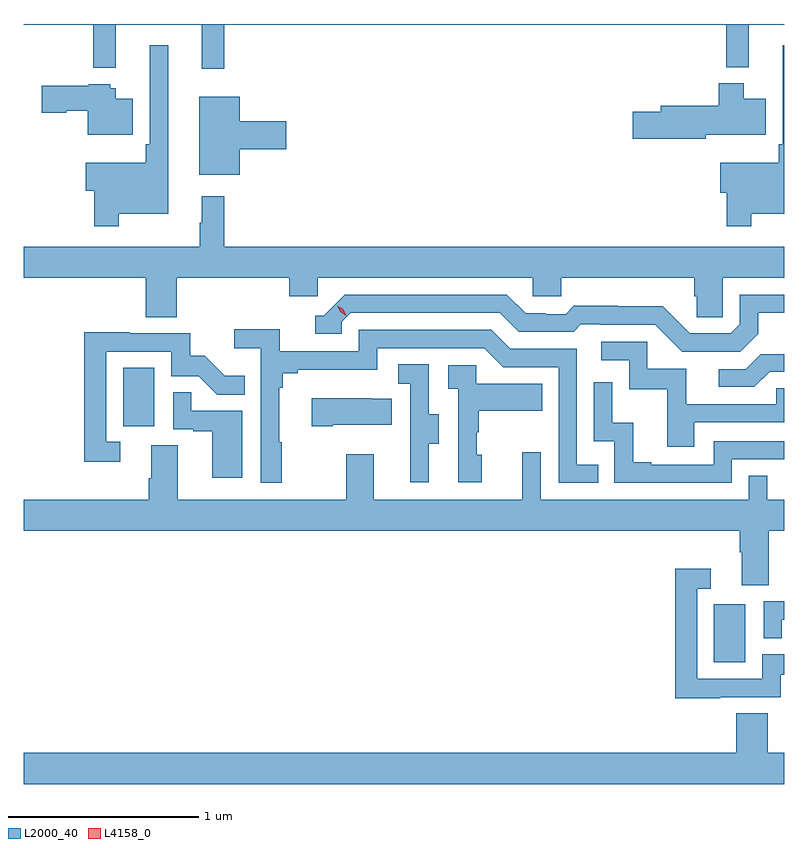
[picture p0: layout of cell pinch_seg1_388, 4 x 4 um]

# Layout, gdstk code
import gdstk
lib = gdstk.Library(unit=1e-6, precision=1e-09)
def R(c, l, rs):  # rectangles x0, y0, x1, y1
    for r in rs: c.add(gdstk.rectangle(r[:2], r[2:], *l))
def P(c, l, *ps):  # polygons
    for p in ps: c.add(gdstk.Polygon(p, *l))
L2000_40 = (2000, 40)
L4158_0 = (4158, 0)

pinch_seg1_388 = lib.new_cell('pinch_seg1_388')
R(pinch_seg1_388, L2000_40, [(1011.806,525.732,1011.97,526.039), (1008.698,526.974,1008.862,527.281)])
P(pinch_seg1_388, L2000_40, [(1009.229,529.088),(1011.871,529.088),(1011.871,528.863),(1011.989,528.863),(1011.989,529.088),(1012.175,529.088),(1012.175,529.091),(1008.175,529.091),(1008.175,529.088),(1008.541,529.088),(1008.541,528.86),(1008.659,528.86),(1008.659,529.088),(1009.112,529.088),(1009.112,528.855),(1009.229,528.855)],
  [(1012.003,528.092),(1012.175,528.092),(1012.175,528.979),(1012.167,528.979),(1012.167,528.457),(1012.147,528.457),(1012.147,528.361),(1011.84,528.361),(1011.84,528.203),(1011.874,528.203),(1011.874,528.027),(1012.003,528.027)],
  [(1008.673,528.092),(1008.934,528.092),(1008.934,528.979),(1008.837,528.979),(1008.837,528.457),(1008.817,528.457),(1008.817,528.361),(1008.5,528.361),(1008.5,528.214),(1008.544,528.214),(1008.544,528.027),(1008.673,528.027)],
  [(1011.762,528.509),(1012.078,528.509),(1012.078,528.697),(1011.964,528.697),(1011.964,528.778),(1011.83,528.778),(1011.83,528.66),(1011.527,528.66),(1011.527,528.63),(1011.378,528.63),(1011.378,528.488),(1011.762,528.488)],
  [(1008.748,528.697),(1008.658,528.697),(1008.658,528.753),(1008.63,528.753),(1008.63,528.775),(1008.516,528.775),(1008.516,528.765),(1008.27,528.765),(1008.27,528.623),(1008.399,528.623),(1008.399,528.635),(1008.512,528.635),(1008.512,528.509),(1008.748,528.509)],
  [(1009.312,528.431),(1009.555,528.431),(1009.555,528.578),(1009.312,528.578),(1009.312,528.709),(1009.097,528.709),(1009.097,528.299),(1009.312,528.299)],
  [(1008.98,527.756),(1009.571,527.756),(1009.571,527.658),(1009.722,527.658),(1009.722,527.756),(1010.853,527.756),(1010.853,527.658),(1011.003,527.658),(1011.003,527.756),(1011.701,527.756),(1011.701,527.658),(1011.715,527.658),(1011.715,527.548),(1011.852,527.548),(1011.852,527.756),(1012.175,527.756),(1012.175,527.92),(1009.229,527.92),(1009.229,528.184),(1009.112,528.184),(1009.112,528.044),(1009.101,528.044),(1009.101,527.92),(1008.175,527.92),(1008.175,527.756),(1008.815,527.756),(1008.815,527.548),(1008.98,527.548)],
  [(1012.039,527.461),(1012.039,527.571),(1012.175,527.571),(1012.175,527.667),(1011.942,527.667),(1011.942,527.511),(1011.894,527.463),(1011.678,527.463),(1011.536,527.605),(1011.3,527.605),(1011.3,527.608),(1011.067,527.608),(1011.025,527.565),(1010.922,527.565),(1010.922,527.568),(1010.815,527.568),(1010.716,527.667),(1009.863,527.667),(1009.752,527.556),(1009.709,527.556),(1009.709,527.46),(1009.848,527.46),(1009.848,527.523),(1009.896,527.571),(1010.679,527.571),(1010.778,527.472),(1011.067,527.472),(1011.106,527.511),(1011.205,527.511),(1011.205,527.508),(1011.498,527.508),(1011.639,527.367),(1011.945,527.367)],
  [(1009.531,526.889),(1009.519,526.889),(1009.519,527.177),(1009.538,527.177),(1009.538,527.254),(1009.615,527.254),(1009.615,527.273),(1010.034,527.273),(1010.034,527.385),(1010.598,527.385),(1010.697,527.286),(1010.988,527.286),(1010.988,526.677),(1011.197,526.677),(1011.197,526.773),(1011.084,526.773),(1011.084,527.382),(1010.734,527.382),(1010.635,527.481),(1009.938,527.481),(1009.938,527.37),(1009.52,527.37),(1009.52,527.486),(1009.281,527.486),(1009.281,527.384),(1009.422,527.384),(1009.422,526.677),(1009.531,526.677)],
  [(1008.682,526.893),(1008.609,526.893),(1008.609,527.367),(1008.951,527.367),(1008.951,527.238),(1009.095,527.238),(1009.193,527.14),(1009.337,527.14),(1009.337,527.239),(1009.233,527.239),(1009.126,527.346),(1009.05,527.346),(1009.05,527.463),(1008.731,527.463),(1008.731,527.468),(1008.493,527.468),(1008.493,526.788),(1008.682,526.788)],
  [(1011.703,526.995),(1012.175,526.995),(1012.175,527.175),(1012.135,527.175),(1012.135,527.091),(1011.661,527.091),(1011.661,527.277),(1011.456,527.277),(1011.456,527.418),(1011.213,527.418),(1011.213,527.322),(1011.36,527.322),(1011.36,527.169),(1011.559,527.169),(1011.559,526.866),(1011.703,526.866)],
  [(1012.099,527.262),(1012.175,527.262),(1012.175,527.354),(1012.052,527.354),(1011.972,527.274),(1011.831,527.274),(1011.831,527.181),(1012.018,527.181)],
  [(1010.305,526.882),(1010.359,526.882),(1010.359,527.037),(1010.304,527.037),(1010.304,527.3),(1010.145,527.3),(1010.145,527.197),(1010.208,527.197),(1010.208,526.893),(1010.207,526.893),(1010.207,526.68),(1010.305,526.68)],
  [(1010.584,526.824),(1010.559,526.824),(1010.559,526.943),(1010.569,526.943),(1010.569,527.057),(1010.903,527.057),(1010.903,527.197),(1010.556,527.197),(1010.556,527.295),(1010.409,527.295),(1010.409,527.171),(1010.46,527.171),(1010.46,526.68),(1010.584,526.68)],
  [(1011.9,526.8),(1012.175,526.8),(1012.175,526.896),(1011.804,526.896),(1011.804,526.773),(1011.475,526.773),(1011.475,526.786),(1011.38,526.786),(1011.38,526.994),(1011.27,526.994),(1011.27,527.206),(1011.174,527.206),(1011.174,526.896),(1011.282,526.896),(1011.282,526.677),(1011.9,526.677)],
  [(1009.324,527.055),(1009.055,527.055),(1009.055,527.153),(1008.96,527.153),(1008.96,526.959),(1009.067,526.959),(1009.067,526.947),(1009.166,526.947),(1009.166,526.704),(1009.324,526.704)],
  [(1009.801,526.982),(1010.111,526.982),(1010.111,527.119),(1010.003,527.119),(1010.003,527.122),(1009.689,527.122),(1009.689,526.975),(1009.801,526.975)],
  [(1012.093,526.424),(1012.175,526.424),(1012.175,526.588),(1012.086,526.588),(1012.086,526.715),(1011.99,526.715),(1011.99,526.588),(1010.895,526.588),(1010.895,526.837),(1010.798,526.837),(1010.798,526.588),(1010.017,526.588),(1010.017,526.828),(1009.87,526.828),(1009.87,526.588),(1008.985,526.588),(1008.985,526.874),(1008.845,526.874),(1008.845,526.7),(1008.833,526.7),(1008.833,526.588),(1008.175,526.588),(1008.175,526.424),(1011.941,526.424),(1011.941,526.312),(1011.953,526.312),(1011.953,526.138),(1012.093,526.138)],
  [(1011.839,525.549),(1012.158,525.549),(1012.158,525.666),(1012.175,525.666),(1012.175,525.774),(1012.059,525.774),(1012.059,525.645),(1011.717,525.645),(1011.717,526.119),(1011.79,526.119),(1011.79,526.225),(1011.601,526.225),(1011.601,525.544),(1011.839,525.544)],
  [(1012.163,525.957),(1012.175,525.957),(1012.175,526.053),(1012.068,526.053),(1012.068,525.859),(1012.163,525.859)],
  [(1012.175,525.256),(1012.088,525.256),(1012.088,525.464),(1011.923,525.464),(1011.923,525.256),(1008.175,525.256),(1008.175,525.092),(1012.175,525.092)])
P(pinch_seg1_388, L4158_0, [(1009.871,527.556),(1009.84,527.576),(1009.825,527.609),(1009.825,527.609),(1009.825,527.609),(1009.855,527.589),(1009.871,527.556),(1009.871,527.556)])

lib.write_gds('pinch_seg1_388.gds')
